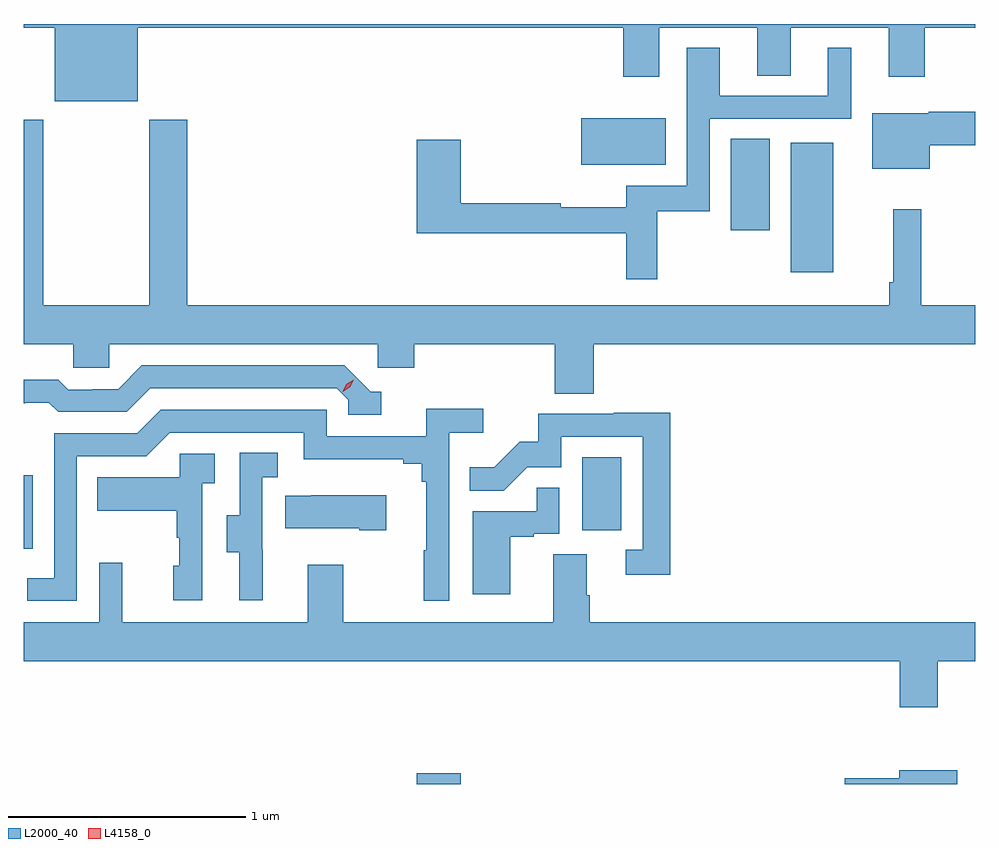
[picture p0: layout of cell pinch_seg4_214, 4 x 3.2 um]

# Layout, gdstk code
import gdstk
lib = gdstk.Library(unit=1e-6, precision=1e-09)
def R(c, l, rs):  # rectangles x0, y0, x1, y1
    for r in rs: c.add(gdstk.rectangle(r[:2], r[2:], *l))
def P(c, l, *ps):  # polygons
    for p in ps: c.add(gdstk.Polygon(p, *l))
L2000_40 = (2000, 40)
L4158_0 = (4158, 0)

pinch_seg4_214 = lib.new_cell('pinch_seg4_214')
R(pinch_seg4_214, L2000_40, [(988.508,829.603,988.691,829.648), (986.855,830.592,986.892,830.902), (989.204,830.67,989.368,830.977), (990.08,831.755,990.259,832.3), (989.828,831.932,989.992,832.316), (989.198,832.208,989.554,832.402)])
P(pinch_seg4_214, L2000_40, [(987.334,832.784),(989.375,832.784),(989.375,832.578),(989.527,832.578),(989.527,832.784),(989.939,832.784),(989.939,832.582),(990.079,832.582),(990.079,832.784),(990.491,832.784),(990.491,832.578),(990.644,832.578),(990.644,832.784),(990.855,832.784),(990.855,832.799),(986.855,832.799),(986.855,832.784),(986.984,832.784),(986.984,832.475),(987.334,832.475)],
  [(989.518,832.011),(989.739,832.011),(989.739,832.401),(990.334,832.401),(990.334,832.699),(990.236,832.699),(990.236,832.497),(989.782,832.497),(989.782,832.699),(989.643,832.699),(989.643,832.119),(989.389,832.119),(989.389,832.028),(989.112,832.028),(989.112,832.046),(988.691,832.046),(988.691,832.312),(988.508,832.312),(988.508,831.918),(989.389,831.918),(989.389,831.726),(989.518,831.726)],
  [(990.664,832.289),(990.855,832.289),(990.855,832.431),(990.66,832.431),(990.66,832.423),(990.422,832.423),(990.422,832.19),(990.664,832.19)],
  [(989.252,831.452),(990.855,831.452),(990.855,831.616),(990.629,831.616),(990.629,832.021),(990.511,832.021),(990.511,831.712),(990.493,831.712),(990.493,831.616),(987.542,831.616),(987.542,832.396),(987.382,832.396),(987.382,831.616),(986.937,831.616),(986.937,832.396),(986.855,832.396),(986.855,831.452),(987.063,831.452),(987.063,831.354),(987.213,831.354),(987.213,831.452),(988.344,831.452),(988.344,831.354),(988.496,831.354),(988.496,831.452),(989.087,831.452),(989.087,831.244),(989.252,831.244)],
  [(988.357,831.252),(988.314,831.252),(988.203,831.363),(987.35,831.363),(987.251,831.264),(987.144,831.264),(987.144,831.261),(987.041,831.261),(986.999,831.304),(986.855,831.304),(986.855,831.204),(986.861,831.204),(986.861,831.207),(986.96,831.207),(986.999,831.168),(987.288,831.168),(987.387,831.267),(988.17,831.267),(988.218,831.219),(988.218,831.156),(988.357,831.156)],
  [(987.078,830.982),(987.369,830.982),(987.468,831.081),(988.032,831.081),(988.032,830.969),(988.451,830.969),(988.451,830.95),(988.528,830.95),(988.528,830.873),(988.547,830.873),(988.547,830.585),(988.536,830.585),(988.536,830.373),(988.644,830.373),(988.644,831.08),(988.786,831.08),(988.786,831.182),(988.547,831.182),(988.547,831.066),(988.128,831.066),(988.128,831.177),(987.431,831.177),(987.332,831.078),(986.982,831.078),(986.982,830.469),(986.869,830.469),(986.869,830.373),(987.078,830.373)],
  [(989.573,831.164),(989.335,831.164),(989.335,831.159),(989.017,831.159),(989.017,831.042),(988.94,831.042),(988.833,830.935),(988.729,830.935),(988.729,830.836),(988.873,830.836),(988.971,830.934),(989.115,830.934),(989.115,831.063),(989.457,831.063),(989.457,830.589),(989.385,830.589),(989.385,830.484),(989.573,830.484)],
  [(987.86,830.589),(987.858,830.589),(987.858,830.893),(987.922,830.893),(987.922,830.996),(987.762,830.996),(987.762,830.733),(987.707,830.733),(987.707,830.578),(987.761,830.578),(987.761,830.376),(987.86,830.376)],
  [(987.606,830.867),(987.658,830.867),(987.658,830.991),(987.51,830.991),(987.51,830.893),(987.163,830.893),(987.163,830.753),(987.498,830.753),(987.498,830.639),(987.508,830.639),(987.508,830.52),(987.482,830.52),(987.482,830.376),(987.606,830.376)],
  [(988.9,830.643),(989,830.643),(989,830.655),(989.106,830.655),(989.106,830.849),(989.011,830.849),(989.011,830.751),(988.742,830.751),(988.742,830.4),(988.9,830.4)],
  [(988.378,830.818),(988.063,830.818),(988.063,830.815),(987.955,830.815),(987.955,830.678),(988.265,830.678),(988.265,830.671),(988.378,830.671)],
  [(990.699,830.12),(990.855,830.12),(990.855,830.284),(989.234,830.284),(989.234,830.396),(989.221,830.396),(989.221,830.57),(989.081,830.57),(989.081,830.284),(988.197,830.284),(988.197,830.524),(988.049,830.524),(988.049,830.284),(987.269,830.284),(987.269,830.533),(987.171,830.533),(987.171,830.284),(986.855,830.284),(986.855,830.12),(990.539,830.12),(990.539,829.926),(990.699,829.926)],
  [(990.781,829.66),(990.536,829.66),(990.536,829.628),(990.306,829.628),(990.306,829.603),(990.781,829.603)])
P(pinch_seg4_214, L4158_0, [(988.195,831.252),(988.195,831.252),(988.211,831.285),(988.242,831.304),(988.242,831.304),(988.242,831.304),(988.226,831.271),(988.195,831.252)])

lib.write_gds('pinch_seg4_214.gds')
